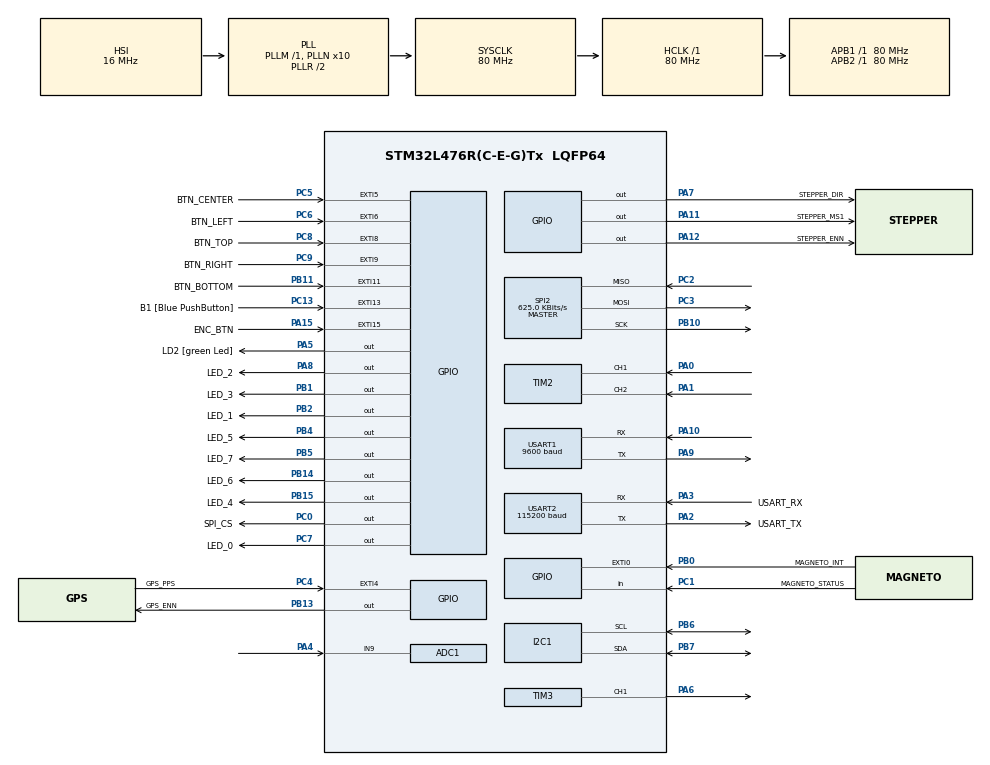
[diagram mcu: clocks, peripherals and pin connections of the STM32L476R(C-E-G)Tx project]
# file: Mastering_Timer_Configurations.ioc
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ADC1.Channel-2\#ChannelRegularConversion=ADC_CHANNEL_9
ADC1.ContinuousConvMode=DISABLE
ADC1.ExternalTrigConv=ADC_EXTERNALTRIG_T4_TRGO
ADC1.NbrOfConversionFlag=1
ADC1.OffsetNumber-2\#ChannelRegularConversion=ADC_OFFSET_NONE
ADC1.Rank-2\#ChannelRegularConversion=1
ADC1.SamplingTime-2\#ChannelRegularConversion=ADC_SAMPLETIME_2CYCLES_5
ADC1.master=1
I2C1.Timing=0x10909CEC
Mcu.Family=STM32L4
Mcu.Name=STM32L476R(C-E-G)Tx
Mcu.Package=LQFP64
NVIC.ADC1_2_IRQn=true\:0\:0\:false\:false\:true\:true\:true\:true
NVIC.EXTI15_10_IRQn=true\:0\:0\:false\:false\:true\:true\:true\:true
NVIC.PriorityGroup=NVIC_PRIORITYGROUP_4
NVIC.TIM4_IRQn=true\:0\:0\:false\:false\:true\:true\:true\:true
NVIC.TIM6_DAC_IRQn=true\:15\:0\:false\:false\:true\:false\:true\:true
NVIC.TimeBase=TIM6_DAC_IRQn
NVIC.TimeBaseIP=TIM6
PA0.Signal=S_TIM2_CH1
PA1.Signal=S_TIM2_CH2
PA10.Mode=Asynchronous
PA10.Signal=USART1_RX
PA11.GPIO_Label=STEPPER_MS1
PA11.Signal=GPIO_Output
PA12.GPIO_Label=STEPPER_ENN
PA12.PinState=GPIO_PIN_SET
PA12.Signal=GPIO_Output
PA13\ (JTMS-SWDIO).GPIO_Label=TMS
PA13\ (JTMS-SWDIO).Mode=Trace_Asynchronous_SW
PA13\ (JTMS-SWDIO).Signal=SYS_JTMS-SWDIO
PA14\ (JTCK-SWCLK).GPIO_Label=TCK
PA14\ (JTCK-SWCLK).Mode=Trace_Asynchronous_SW
PA14\ (JTCK-SWCLK).Signal=SYS_JTCK-SWCLK
PA15\ (JTDI).GPIO_Label=ENC_BTN
PA15\ (JTDI).Signal=GPXTI15
PA2.GPIO_Label=USART_TX
PA2.GPIO_Mode=GPIO_MODE_AF_PP
PA2.GPIO_PuPd=GPIO_NOPULL
PA2.GPIO_Speed=GPIO_SPEED_FREQ_VERY_HIGH
PA2.Mode=Asynchronous
PA2.Signal=USART2_TX
PA3.GPIO_Label=USART_RX
PA3.GPIO_Mode=GPIO_MODE_AF_PP
PA3.GPIO_PuPd=GPIO_NOPULL
PA3.GPIO_Speed=GPIO_SPEED_FREQ_VERY_HIGH
PA3.Mode=Asynchronous
PA3.Signal=USART2_RX
PA4.Signal=ADCx_IN9
PA5.GPIO_Label=LD2 [green Led]
PA5.GPIO_ModeDefaultOutputPP=GPIO_MODE_OUTPUT_PP
PA5.GPIO_PuPd=GPIO_NOPULL
PA5.GPIO_Speed=GPIO_SPEED_FREQ_LOW
PA5.Signal=GPIO_Output
PA6.Signal=S_TIM3_CH1
PA7.GPIO_Label=STEPPER_DIR
PA7.Signal=GPIO_Output
PA8.GPIO_Label=LED_2
PA8.Signal=GPIO_Output
PA9.Mode=Asynchronous
PA9.Signal=USART1_TX
PB0.GPIO_Label=MAGNETO_INT
PB0.Signal=GPXTI0
PB1.GPIO_Label=LED_3
PB1.Signal=GPIO_Output
PB10.Mode=Full_Duplex_Master
PB10.Signal=SPI2_SCK
PB11.GPIO_Label=BTN_BOTTOM
PB11.Signal=GPXTI11
PB13.GPIO_Label=GPS_ENN
PB13.Signal=GPIO_Output
PB14.GPIO_Label=LED_6
PB14.Signal=GPIO_Output
PB15.GPIO_Label=LED_4
PB15.Signal=GPIO_Output
PB2.GPIO_Label=LED_1
PB2.Signal=GPIO_Output
PB3\ (JTDO-TRACESWO).Mode=Trace_Asynchronous_SW
PB3\ (JTDO-TRACESWO).Signal=SYS_JTDO-SWO
PB4\ (NJTRST).GPIO_Label=LED_5
PB4\ (NJTRST).Signal=GPIO_Output
PB5.GPIO_Label=LED_7
PB5.Signal=GPIO_Output
PB6.Mode=I2C
PB6.Signal=I2C1_SCL
PB7.Mode=I2C
PB7.Signal=I2C1_SDA
PC0.GPIO_Label=SPI_CS
PC0.PinState=GPIO_PIN_SET
PC0.Signal=GPIO_Output
PC1.GPIO_Label=MAGNETO_STATUS
PC1.Signal=GPIO_Input
PC13.GPIO_Label=B1 [Blue PushButton]
PC13.GPIO_ModeDefaultEXTI=GPIO_MODE_IT_FALLING
PC13.GPIO_PuPd=GPIO_NOPULL
PC13.Signal=GPXTI13
PC14-OSC32_IN\ (PC14).Mode=LSE-External-Oscillator
PC14-OSC32_IN\ (PC14).Signal=RCC_OSC32_IN
PC15-OSC32_OUT\ (PC15).Mode=LSE-External-Oscillator
PC15-OSC32_OUT\ (PC15).Signal=RCC_OSC32_OUT
PC2.Mode=Full_Duplex_Master
PC2.Signal=SPI2_MISO
PC3.Mode=Full_Duplex_Master
PC3.Signal=SPI2_MOSI
PC4.GPIO_Label=GPS_PPS
PC4.Signal=GPXTI4
PC5.GPIO_Label=BTN_CENTER
PC5.Signal=GPXTI5
PC6.GPIO_Label=BTN_LEFT
PC6.Signal=GPXTI6
PC7.GPIO_Label=LED_0
PC7.Signal=GPIO_Output
PC8.GPIO_Label=BTN_TOP
PC8.Signal=GPXTI8
PC9.GPIO_Label=BTN_RIGHT
PC9.Signal=GPXTI9
PH0-OSC_IN\ (PH0).Mode=HSE-External-Oscillator
PH0-OSC_IN\ (PH0).Signal=RCC_OSC_IN
PH1-OSC_OUT\ (PH1).Mode=HSE-External-Oscillator
PH1-OSC_OUT\ (PH1).Signal=RCC_OSC_OUT
ProjectManager.HeapSize=0x200
ProjectManager.StackSize=0x400
ProjectManager.TargetToolchain=STM32CubeIDE
RCC.ADCFreq_Value=64000000
RCC.AHBFreq_Value=80000000
RCC.APB1Freq_Value=80000000
RCC.APB1TimFreq_Value=80000000
RCC.APB2Freq_Value=80000000
RCC.APB2TimFreq_Value=80000000
RCC.CortexFreq_Value=80000000
RCC.HCLKFreq_Value=80000000
RCC.HSE_VALUE=8000000
RCC.HSI_VALUE=16000000
RCC.MSI_VALUE=4000000
RCC.PLLN=10
RCC.PLLSourceVirtual=RCC_PLLSOURCE_HSI
RCC.PREFETCH_ENABLE=1
RCC.SYSCLKFreq_VALUE=80000000
RCC.SYSCLKSource=RCC_SYSCLKSOURCE_PLLCLK
RCC.USBFreq_Value=64000000
RCC.VCOOutputFreq_Value=160000000
SH.ADCx_IN9.0=ADC1_IN9,IN9-Single-Ended
SH.S_TIM2_CH1.0=TIM2_CH1,Encoder_Interface
SH.S_TIM2_CH2.0=TIM2_CH2,Encoder_Interface
SH.S_TIM3_CH1.0=TIM3_CH1,PWM Generation1 CH1
SPI2.BaudRatePrescaler=SPI_BAUDRATEPRESCALER_128
SPI2.CalculateBaudRate=625.0 KBits/s
SPI2.DataSize=SPI_DATASIZE_8BIT
SPI2.Direction=SPI_DIRECTION_2LINES
SPI2.Mode=SPI_MODE_MASTER
SPI2.NSSPMode=SPI_NSS_PULSE_DISABLE
SPI2.VirtualType=VM_MASTER
TIM3.Channel-PWM\ Generation1\ CH1=TIM_CHANNEL_1
TIM4.Period=9999
TIM4.Prescaler=79
TIM4.TIM_MasterOutputTrigger=TIM_TRGO_UPDATE
USART1.BaudRate=9600
USART1.VirtualMode-Asynchronous=VM_ASYNC
USART2.BaudRate=115200
USART2.VirtualMode-Asynchronous=VM_ASYNC
VP_SYS_VS_tim6.Mode=TIM6
VP_TIM3_VS_ClockSourceINT.Mode=Internal
VP_TIM4_VS_ClockSourceINT.Mode=Internal
board=NUCLEO-L476RG

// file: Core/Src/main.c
/* USER CODE BEGIN Header */
/**
  ******************************************************************************
  * @file           : main.c
  * @brief          : Main program body
  ******************************************************************************
  * @attention
  *
  * Copyright (c) 2025 STMicroelectronics.
  * All rights reserved.
  *
  * This software is licensed under terms that can be found in the LICENSE file
  * in the root directory of this software component.
  * If no LICENSE file comes with this software, it is provided AS-IS.
  *
  ******************************************************************************
  */
/* USER CODE END Header */
#include "main.h"
#include "adc.h"
#include "i2c.h"
#include "spi.h"
#include "tim.h"
#include "usart.h"
#include "gpio.h"

/* USER CODE BEGIN Includes */
#include "encoder.h"
#include "motor.h"
#include "stm32l4xx_hal.h"
#include <stdio.h>
#include <stdlib.h>
/* USER CODE END Includes */

/* USER CODE BEGIN PD */
#define ENCODER_MIN   -8
#define ENCODER_MAX    8
#define LOOP_DELAY_MS  100
/* USER CODE END PD */

void SystemClock_Config(void);

/* USER CODE BEGIN 0 */
int __io_putchar(int ch)

{

	HAL_UART_Transmit(&huart2, (uint8_t *)&ch, 1, HAL_MAX_DELAY);

	return ch;

}

int __io_getchar(void)

{

	uint8_t ch = 0;

	__HAL_UART_CLEAR_OREFLAG(&huart2);

	HAL_UART_Receive(&huart2, (uint8_t *)&ch, 1, HAL_MAX_DELAY);

	HAL_UART_Transmit(&huart2, (uint8_t *)&ch, 1, HAL_MAX_DELAY);

	return ch;

}
/* USER CODE END 0 */

int main(void)
{

  /* MCU Configuration--------------------------------------------------------*/

  /* Reset of all peripherals, Initializes the Flash interface and the Systick. */
  HAL_Init();

  /* Configure the system clock */
  SystemClock_Config();

  /* Initialize all configured peripherals */
  MX_GPIO_Init();
  MX_USART2_UART_Init();
  MX_I2C1_Init();
  MX_SPI2_Init();
  MX_TIM2_Init();
  MX_TIM3_Init();
  MX_USART1_UART_Init();
  MX_ADC1_Init();
  MX_TIM4_Init();
  /* USER CODE BEGIN 2 */
  encoder_init(&htim2, ENCODER_MIN, ENCODER_MAX);

  init_stepper(&htim4, TIM_CHANNEL_1,
               GPIOA, GPIO_PIN_0,
               GPIOB, GPIO_PIN_0,
               GPIOB, GPIO_PIN_1,
               GPIOA, GPIO_PIN_1);
  /* USER CODE END 2 */

  /* Infinite loop */
  while (1)
  {

    /* USER CODE BEGIN 3 */

      // 1. Read the encoder value
      int32_t encoder_value = encoder_read();

      // 2. Use the encoder value as the speed setpoint (or map it if needed)
      int desired_speed = (int)encoder_value;

      // 3. Update motor command based on the desired speed
      launch_stepper(desired_speed);

      // 4. Calculate the effective motor speed from PWM configuration
      float motor_speed = get_speed();

      // 5. Display the speed information
      printf("Encoder: %ld, Set Speed: %d, Motor Speed: %.2f rpm\r\n",
             encoder_value, desired_speed, motor_speed);

      // 6. Wait a short while before next reading
      HAL_Delay(LOOP_DELAY_MS);
  }
  /* USER CODE END 3 */
}

void SystemClock_Config(void)
{
  RCC_OscInitTypeDef RCC_OscInitStruct = {0};
  RCC_ClkInitTypeDef RCC_ClkInitStruct = {0};

  /** Configure the main internal regulator output voltage
  */
  if (HAL_PWREx_ControlVoltageScaling(PWR_REGULATOR_VOLTAGE_SCALE1) != HAL_OK)
  {
    Error_Handler();
  }

  /** Initializes the RCC Oscillators according to the specified parameters
  * in the RCC_OscInitTypeDef structure.
  */
  RCC_OscInitStruct.OscillatorType = RCC_OSCILLATORTYPE_HSI;
  RCC_OscInitStruct.HSIState = RCC_HSI_ON;
  RCC_OscInitStruct.HSICalibrationValue = RCC_HSICALIBRATION_DEFAULT;
  RCC_OscInitStruct.PLL.PLLState = RCC_PLL_ON;
  RCC_OscInitStruct.PLL.PLLSource = RCC_PLLSOURCE_HSI;
  RCC_OscInitStruct.PLL.PLLM = 1;
  RCC_OscInitStruct.PLL.PLLN = 10;
  RCC_OscInitStruct.PLL.PLLP = RCC_PLLP_DIV7;
  RCC_OscInitStruct.PLL.PLLQ = RCC_PLLQ_DIV2;
  RCC_OscInitStruct.PLL.PLLR = RCC_PLLR_DIV2;
  if (HAL_RCC_OscConfig(&RCC_OscInitStruct) != HAL_OK)
  {
    Error_Handler();
  }

  /** Initializes the CPU, AHB and APB buses clocks
  */
  RCC_ClkInitStruct.ClockType = RCC_CLOCKTYPE_HCLK|RCC_CLOCKTYPE_SYSCLK
                              |RCC_CLOCKTYPE_PCLK1|RCC_CLOCKTYPE_PCLK2;
  RCC_ClkInitStruct.SYSCLKSource = RCC_SYSCLKSOURCE_PLLCLK;
  RCC_ClkInitStruct.AHBCLKDivider = RCC_SYSCLK_DIV1;
  RCC_ClkInitStruct.APB1CLKDivider = RCC_HCLK_DIV1;
  RCC_ClkInitStruct.APB2CLKDivider = RCC_HCLK_DIV1;

  if (HAL_RCC_ClockConfig(&RCC_ClkInitStruct, FLASH_LATENCY_4) != HAL_OK)
  {
    Error_Handler();
  }
}

void HAL_TIM_PeriodElapsedCallback(TIM_HandleTypeDef *htim)
{
  if (htim->Instance == TIM6) {
    HAL_IncTick();
  }
}

void Error_Handler(void)
{
  __disable_irq();
  while (1)
  {
  }
}
